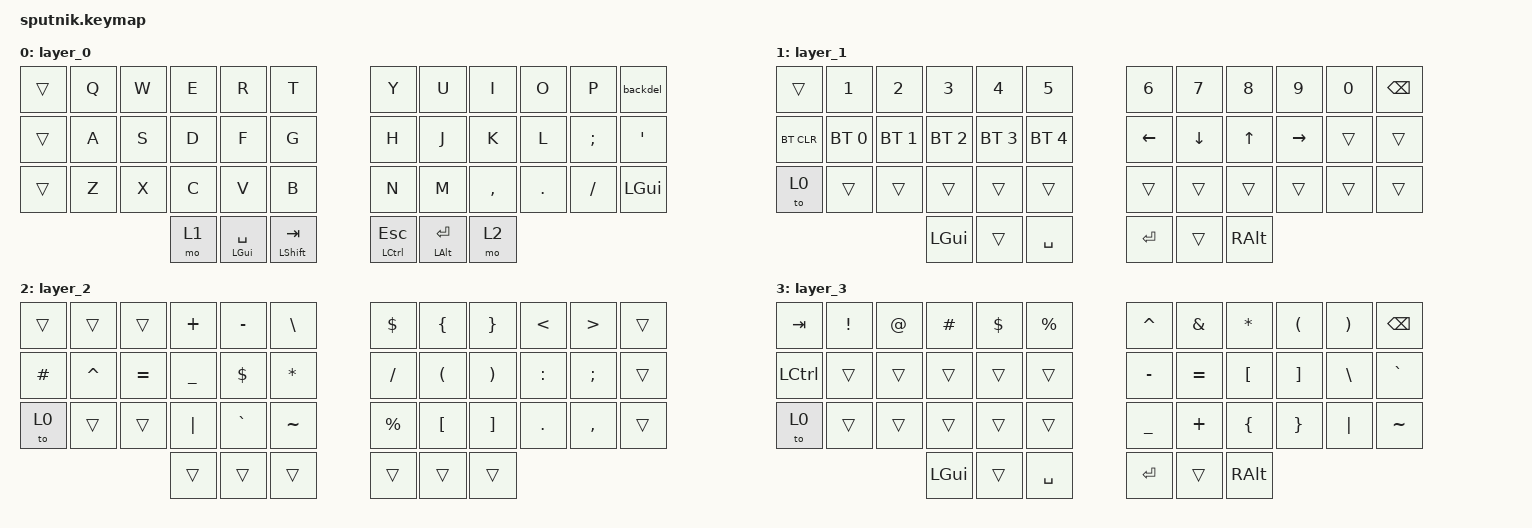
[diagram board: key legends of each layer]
// #include "../../../corne.keymap"

/*
 * Copyright (c) 2020 The ZMK Contributors
 *
 * SPDX-License-Identifier: MIT
 */

#include <behaviors.dtsi>
#include <dt-bindings/zmk/keys.h>
#include <dt-bindings/zmk/bt.h>

/ {
        keymap {
                compatible = "zmk,keymap";

                layer_0 {
// -----------------------------------------------------------------------------------------
// |  TAB |  Q  |  W  |  E  |  R  |  T  |   |  Y  |  U   |  I  |  O  |  P  | BKSP |
// | CTRL |  A  |  S  |  D  |  F  |  G  |   |  H  |  J   |  K  |  L  |  ;  |  '   |
// | SHFT |  Z  |  X  |  C  |  V  |  B  |   |  N  |  M   |  ,  |  .  |  /  | ESC  |
//                    | GUI | LWR | SPC |   | ENT | RSE  | ALT |
                        bindings = <
   &trans   &kp Q &kp W &kp E &kp R &kp T   &kp Y &kp U  &kp I     &kp O   &kp P    &backdel
   &trans &kp A &kp S &kp D &kp F &kp G   &kp H &kp J  &kp K     &kp L   &kp SEMI &kp SQT
   &trans     &kp Z &kp X &kp C &kp V &kp B   &kp N &kp M  &kp COMMA &kp DOT &kp FSLH &kp LGUI
                  &mo 1 &mt LGUI SPACE &mt LSHIFT TAB   &mt LCTRL ESC &mt LALT ENTER &mo 2
                        >;
                };

                layer_1 {
// -----------------------------------------------------------------------------------------
// |  TAB |  1  |  2  |  3  |  4  |  5  |   |  6  |  7  |  8  |  9  |  0  | BKSP |
// | BTCLR| BT1 | BT2 | BT3 | BT4 | BT5 |   | LFT | DWN |  UP | RGT |     |      |
// | SHFT |     |     |     |     |     |   |     |     |     |     |     |      |
//                    | GUI |     | SPC |   | ENT |     | ALT |
                        bindings = <
   &trans    &kp N1       &kp N2       &kp N3       &kp N4       &kp N5         &kp N6   &kp N7   &kp N8 &kp N9    &kp N0 &kp BSPC
   &bt BT_CLR &bt BT_SEL 0 &bt BT_SEL 1 &bt BT_SEL 2 &bt BT_SEL 3 &bt BT_SEL 4   &kp LEFT &kp DOWN &kp UP &kp RIGHT &trans &trans
   &to 0  &trans       &trans       &trans       &trans       &trans         &trans   &trans   &trans &trans    &trans &trans
                                    &kp LGUI     &trans       &kp SPACE      &kp RET  &trans   &kp RALT
                        >;
                };

                layer_2 {
// -----------------------------------------------------------------------------------------
// |  TAB |  !  |  @  |  #  |  $  |  %  |   |  ^  |  &  |  *  |  (  |  )  | BKSP |
// | CTRL |     |     |     |     |     |   |  -  |  =  |  [  |  ]  |  \  |  `   |
// | SHFT |     |     |     |     |     |   |  _  |  +  |  {  |  }  | "|" |  ~   |
//                    | GUI |     | SPC |   | ENT |     | ALT |
                        bindings = <
   &trans  &trans &trans &kp PLUS &kp MINUS &kp BSLH   &kp DLLR &kp LBRC  &kp RBRC &kp LT &kp GT &trans
   &kp HASH &kp CARET  &kp EQUAL &kp UNDER   &kp DLLR   &kp STAR      &kp FSLH &kp LPAR &kp RPAR  &kp COLON &kp SEMI &trans
   &to 0 &trans &trans &kp PIPE &kp GRAVE &kp TILDE &kp PRCNT &kp LBKT &kp RBKT &kp DOT &kp COMMA &trans
                             &trans &trans   &trans   &trans   &trans    &trans
                        >;
                };

            layer_3 {
                bindings = <
   &kp  TAB  &kp EXCL &kp AT &kp HASH &kp DLLR &kp PRCNT   &kp CARET &kp AMPS  &kp ASTRK &kp LPAR &kp RPAR &kp BSPC
   &kp LCTRL &trans   &trans &trans   &trans   &trans      &kp MINUS &kp EQUAL &kp LBKT  &kp RBKT &kp BSLH &kp GRAVE
   &to 0 &trans   &trans &trans   &trans   &trans      &kp UNDER &kp PLUS  &kp LBRC  &kp RBRC &kp PIPE &kp TILDE
                             &kp LGUI &trans   &kp SPACE   &kp RET   &trans    &kp RALT
                        >;

                
            };
        };
};



/ {
    behaviors {
        backdel: backspace_del {
            compatible = "zmk,behavior-mod-morph";
            #binding-cells = <0>;
            bindings = <&kp BSPC>, <&kp DELETE>;
            mods = <(MOD_LSFT|MOD_RSFT)>;
        };
    };
};


/* / { */
/*     conditional_layers { */
/*         compatible = "zmk,conditional-layers"; */
/*         tri_layer { */
/*             if-layers = <1 2>; */
/*             then-layer = <3>; */
/*         }; */
/*     }; */
/* }; */
